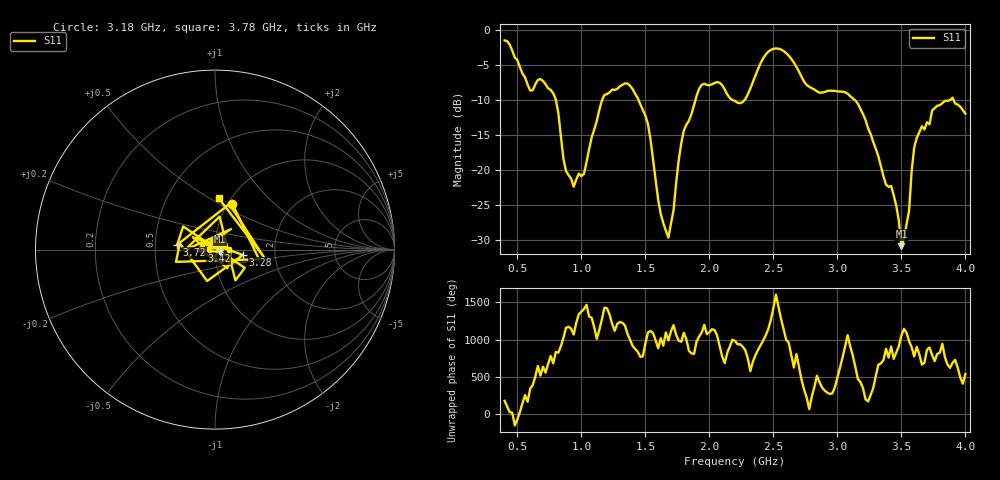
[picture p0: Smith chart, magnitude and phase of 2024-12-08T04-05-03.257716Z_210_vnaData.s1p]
!Created with skrf (http://scikit-rf.org).
# Hz S RI R 50.0
!freq ReS11 ImS11
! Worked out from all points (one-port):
!   181 points, 400 MHz to 4 GHz, reference 50 ohm
!   lowest |S11| = -30.9 dB at 3.5 GHz (marker M1), VSWR 1.06, Z = 52.6 - j1.29 ohm
!   |S11| at or under -10 dB: 801 MHz to 1.161 GHz (360.3 MHz wide, 36.7 % of centre); 1.447 GHz to 1.891 GHz (443.8 MHz wide, 26.6 % of centre); 3.138 GHz to 3.88 GHz (742.6 MHz wide, 21.2 % of centre) (the widest 3 of 5)
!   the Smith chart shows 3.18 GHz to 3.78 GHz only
!   S11 on the Smith chart (normalised r, x): 3.18 GHz: 1.05, +0.58; 3.28 GHz: 1.37, -0.08; 3.42 GHz: 0.86, -0.01; 3.72 GHz: 0.65, +0.04; 3.78 GHz: 0.88, +0.55
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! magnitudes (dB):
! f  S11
! 400 MHz  -1.4
! 600 MHz  -8.6
! 780 MHz  -9.0
! 820 MHz  -11.9
! 860 MHz  -18.4
! 940 MHz  -22.4
! 1.02 GHz  -20.6
! 1.16 GHz  -10.1
! 1.3 GHz  -8.0
! 1.5 GHz  -12.2
! 1.62 GHz  -26.3
! 1.68 GHz  -29.7
! 1.76 GHz  -18.6
! 1.94 GHz  -7.8
! 2.2 GHz  -10.1
! 2.48 GHz  -2.8
! 2.66 GHz  -4.6
! 2.84 GHz  -8.7
! 3.1 GHz  -9.4
! 3.18 GHz  -11.3
! 3.28 GHz  -16.0
! 3.42 GHz  -22.3
! 3.5 GHz  -30.9
! 3.56 GHz  -25.9
! 3.6 GHz  -16.8
! 3.72 GHz  -13.5
! 3.78 GHz  -10.8
! 4 GHz  -11.9
